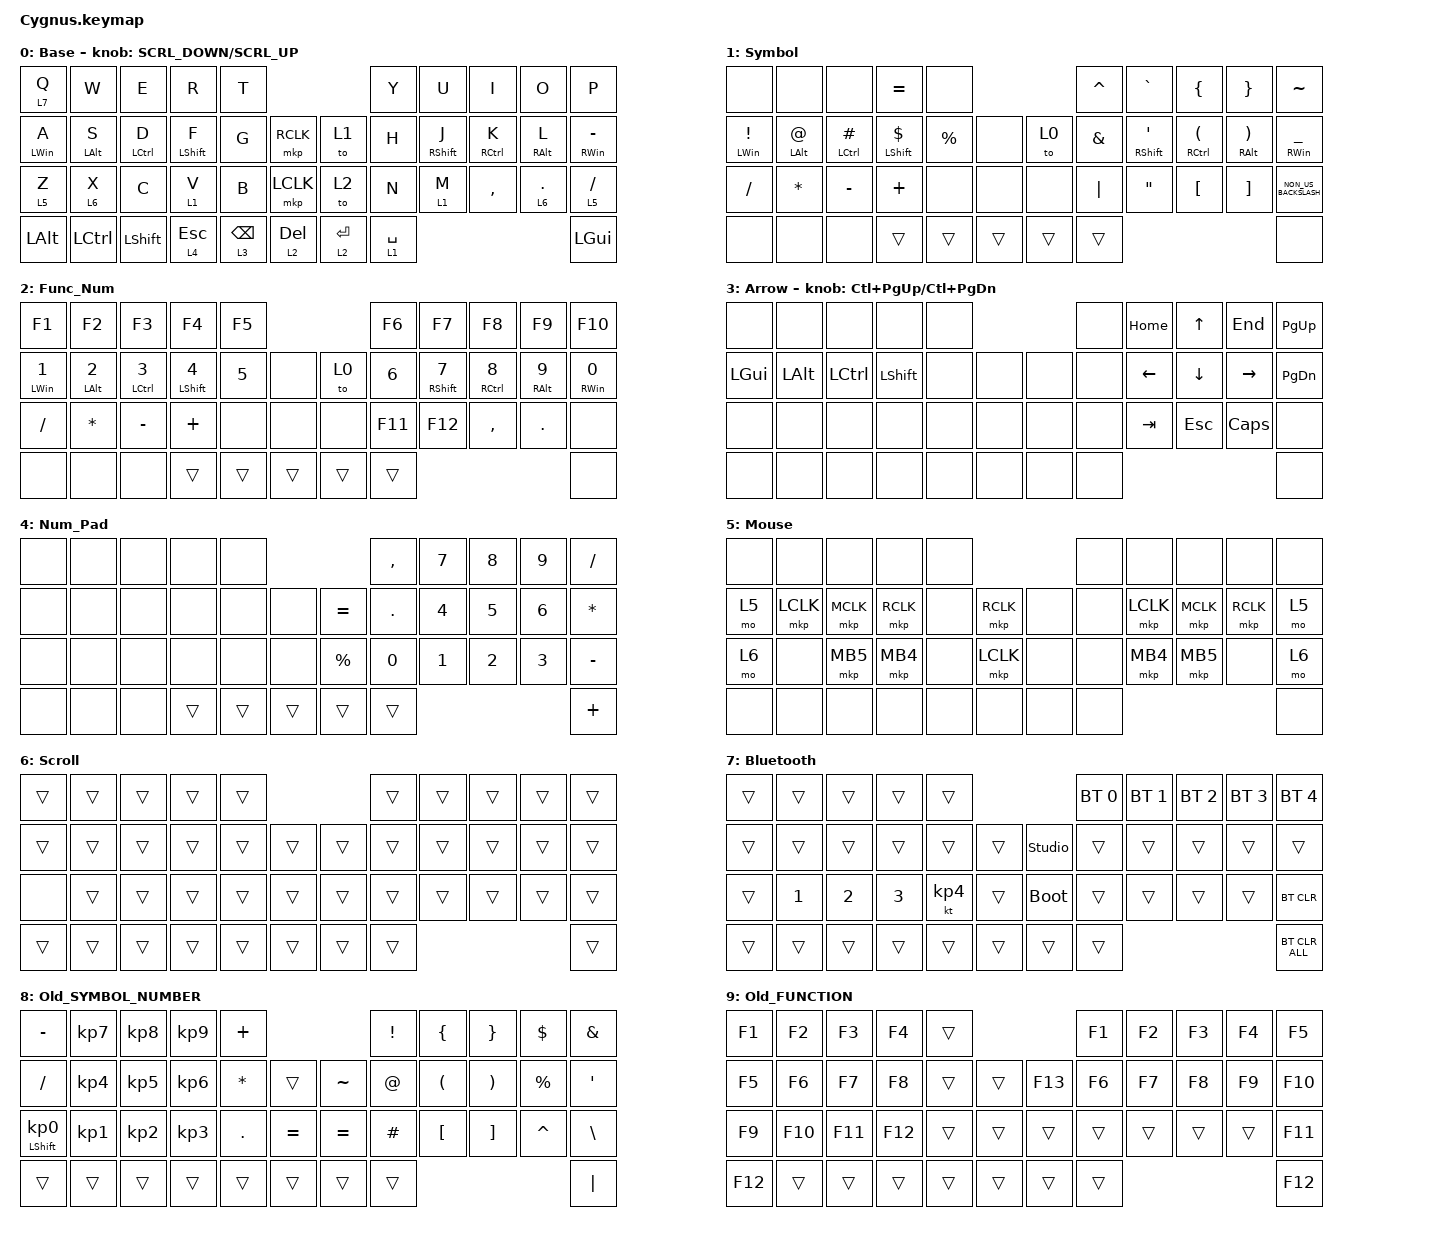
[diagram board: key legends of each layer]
#define ZMK_POINTING_DEFAULT_SCRL_VAL 120    // default: 10

#include <behaviors.dtsi>
#include <dt-bindings/zmk/bt.h>
#include <dt-bindings/zmk/keys.h>
#include <dt-bindings/zmk/pointing.h>

#define MOUSE 4
#define SCROLL 5
#define NUM 6

&mt {
    flavor = "balanced";
    quick-tap-ms = <0>;
};

/ {
    combos {
        compatible = "zmk,combos";

        Esc {
            bindings = <&kp ESCAPE>;
            key-positions = <1 2>;
        };

        Tab {
            bindings = <&kp TAB>;
            key-positions = <11 12>;
        };

        Lang2 {
            bindings = <&kp LANGUAGE_2>;
            key-positions = <13 12>;
        };

        Caps {
            bindings = <&kp CAPS>;
            key-positions = <13 18>;
        };

        Lang1 {
            bindings = <&kp LANGUAGE_1>;
            key-positions = <18 19>;
        };

        Semicolon {
            bindings = <&kp SEMICOLON>;
            key-positions = <6 7>;
        };

        Doublequote {
            bindings = <&kp DOUBLE_QUOTES>;
            key-positions = <7 8>;
        };

        Colon {
            bindings = <&kp COLON>;
            key-positions = <30 31>;
        };

        Esc_2 {
            bindings = <&kp ESCAPE>;
            key-positions = <23 24>;
        };

        Equal {
            bindings = <&kp EQUAL>;
            key-positions = <31 32>;
        };
    };

    macros {
        to_layer_0: to_layer_0 {
            compatible = "zmk,behavior-macro-one-param";
            #binding-cells = <1>;
            bindings = <&to 0 &macro_param_1to1 &kp MACRO_PLACEHOLDER>;
            label = "TO_LAYER_0";
        };
    };

    behaviors {
        lt_to_layer_0: lt_to_layer_0 {
            compatible = "zmk,behavior-hold-tap";
            label = "LAYER_TAP_TO_0";
            bindings = <&mo>, <&to_layer_0>;

            #binding-cells = <2>;
            tapping-term-ms = <200>;
        };

        ROTATE: ROTATE {
            compatible = "zmk,behavior-sensor-rotate-var";
            label = "ROTATE";
            #sensor-binding-cells = <2>;
            bindings = <&msc>, <&msc>;

            tap-ms = <20>;
        };
    };

    keymap {
        compatible = "zmk,keymap";

        Base {
            bindings = <
&lt 7 Q         &kp W           &kp E        &kp R         &kp T                                      &kp Y        &kp U        &kp I        &kp O         &kp P
&mt LEFT_WIN A  &mt LEFT_ALT S  &mt LCTRL D  &mt LSHIFT F  &kp G            &mkp RCLK      &to 1      &kp H        &mt RSHFT J  &mt RCTRL K  &mt RALT L    &mt RWIN MINUS
&lt 5 Z         &lt 6 X         &kp C        &lt 1 V       &kp B            &mkp LCLK      &to 2      &kp N        &lt 1 M      &kp COMMA    &lt 6 PERIOD  &lt 5 SLASH
&kp LALT        &kp LCTRL       &kp LSHFT    &lt 4 ESCAPE  &lt 3 BACKSPACE  &lt 2 DEL      &lt 2 RET  &lt 1 SPACE                                          &kp LGUI
            >;

            sensor-bindings = <&ROTATE SCRL_DOWN SCRL_UP>;
        };

        Symbol {
            bindings = <
&none                 &none                 &none           &kp EQUAL          &none                            &kp CARET      &kp GRAVE          &kp LEFT_BRACE              &kp RIGHT_BRACE                  &kp TILDE
&mt LWIN EXCLAMATION  &mt LEFT_ALT AT_SIGN  &mt LCTRL HASH  &mt LSHIFT DOLLAR  &kp PERCENT  &none       &to 0   &kp AMPERSAND  &mt RSHIFT SQT     &mt RCTRL LEFT_PARENTHESIS  &mt RIGHT_ALT RIGHT_PARENTHESIS  &mt RWIN UNDERSCORE
&kp SLASH             &kp ASTERISK          &kp MINUS       &kp PLUS           &none        &none       &none   &kp PIPE       &kp DOUBLE_QUOTES  &kp LEFT_BRACKET            &kp RIGHT_BRACKET                &kp NON_US_BACKSLASH
&none                 &none                 &none           &trans             &trans       &trans      &trans  &trans                                                                                         &none
            >;
        };

        Func_Num {
            bindings = <
&kp F1                 &kp F2                 &kp F3              &kp F4               &kp F5                      &kp F6   &kp F7         &kp F8        &kp F9            &kp F10
&mt LEFT_WIN NUMBER_1  &mt LEFT_ALT NUMBER_2  &mt LCTRL NUMBER_3  &mt LSHIFT NUMBER_4  &kp N5  &none       &to 0   &kp N6   &mt RSHIFT N7  &mt RCTRL N8  &mt RIGHT_ALT N9  &mt RWIN N0
&kp FSLH               &kp ASTERISK           &kp MINUS           &kp PLUS             &none   &none       &none   &kp F11  &kp F12        &kp COMMA     &kp DOT           &none
&none                  &none                  &none               &trans               &trans  &trans      &trans  &trans                                                  &none
            >;
        };

        Arrow {
            bindings = <
&none     &none     &none      &none      &none                    &none  &kp HOME        &kp UP_ARROW    &kp END    &kp PG_UP
&kp LGUI  &kp LALT  &kp LCTRL  &kp LSHFT  &none  &none      &none  &none  &kp LEFT_ARROW  &kp DOWN_ARROW  &kp RIGHT  &kp PAGE_DOWN
&none     &none     &none      &none      &none  &none      &none  &none  &kp TAB         &kp ESCAPE      &kp CAPS   &none
&none     &none     &none      &none      &none  &none      &none  &none                                             &none
            >;

            sensor-bindings = <&inc_dec_kp LC(PAGE_UP) LC(PAGE_DOWN)>;
        };

        Num_Pad {
            bindings = <
&none  &none  &none  &none   &none                            &kp COMMA  &kp N7  &kp N8  &kp N9  &kp FSLH
&none  &none  &none  &none   &none   &none       &kp EQUAL    &kp DOT    &kp N4  &kp N5  &kp N6  &kp ASTERISK
&none  &none  &none  &none   &none   &none       &kp PERCENT  &kp N0     &kp N1  &kp N2  &kp N3  &kp MINUS
&none  &none  &none  &trans  &trans  &trans      &trans       &trans                             &kp PLUS
            >;
        };

        Mouse {
            bindings = <
&none  &none      &none      &none      &none                        &none  &none      &none      &none      &none
&mo 5  &mkp LCLK  &mkp MCLK  &mkp RCLK  &none  &mkp RCLK      &none  &none  &mkp LCLK  &mkp MCLK  &mkp RCLK  &mo 5
&mo 6  &none      &mkp MB5   &mkp MB4   &none  &mkp LCLK      &none  &none  &mkp MB4   &mkp MB5   &none      &mo 6
&none  &none      &none      &none      &none  &none          &none  &none                                   &none
            >;
        };

        Scroll {
            bindings = <
&trans  &trans  &trans  &trans  &trans                      &trans  &trans  &trans  &trans  &trans
&trans  &trans  &trans  &trans  &trans  &trans      &trans  &trans  &trans  &trans  &trans  &trans
&none   &trans  &trans  &trans  &trans  &trans      &trans  &trans  &trans  &trans  &trans  &trans
&trans  &trans  &trans  &trans  &trans  &trans      &trans  &trans                          &trans
            >;
        };

        Bluetooth {
            bindings = <
&trans  &trans        &trans        &trans        &trans                                 &bt BT_SEL 0  &bt BT_SEL 1  &bt BT_SEL 2  &bt BT_SEL 3  &bt BT_SEL 4
&trans  &trans        &trans        &trans        &trans     &trans      &studio_unlock  &trans        &trans        &trans        &trans        &trans
&trans  &kp NUMBER_1  &kp NUMBER_2  &kp NUMBER_3  &kt KP_N4  &trans      &bootloader     &trans        &trans        &trans        &trans        &bt BT_CLR
&trans  &trans        &trans        &trans        &trans     &trans      &trans          &trans                                                  &bt BT_CLR_ALL
            >;
        };

        Old_SYMBOL_NUMBER {
            bindings = <
&kp MINUS                   &kp KP_NUMBER_7  &kp KP_NUMBER_8  &kp KP_NUMBER_9  &kp PLUS                                &kp EXCLAMATION  &kp LEFT_BRACE        &kp RIGHT_BRACE        &kp DOLLAR   &kp AMPERSAND
&kp SLASH                   &kp KP_NUMBER_4  &kp KP_NUMBER_5  &kp KP_NUMBER_6  &kp ASTERISK  &trans         &kp TILDE  &kp AT_SIGN      &kp LEFT_PARENTHESIS  &kp RIGHT_PARENTHESIS  &kp PERCENT  &kp SQT
&mt LEFT_SHIFT KP_NUMBER_0  &kp KP_NUMBER_1  &kp KP_NUMBER_2  &kp KP_NUMBER_3  &kp PERIOD    &kp EQUAL      &kp EQUAL  &kp HASH         &kp LEFT_BRACKET      &kp RIGHT_BRACKET      &kp CARET    &kp BACKSLASH
&trans                      &trans           &trans           &trans           &trans        &trans         &trans     &trans                                                                     &kp PIPE
            >;
        };

        Old_FUNCTION {
            bindings = <
&kp F1   &kp F2   &kp F3   &kp F4   &trans                       &kp F1  &kp F2  &kp F3  &kp F4  &kp F5
&kp F5   &kp F6   &kp F7   &kp F8   &trans  &trans      &kp F13  &kp F6  &kp F7  &kp F8  &kp F9  &kp F10
&kp F9   &kp F10  &kp F11  &kp F12  &trans  &trans      &trans   &trans  &trans  &trans  &trans  &kp F11
&kp F12  &trans   &trans   &trans   &trans  &trans      &trans   &trans                          &kp F12
            >;
        };
    };
};
